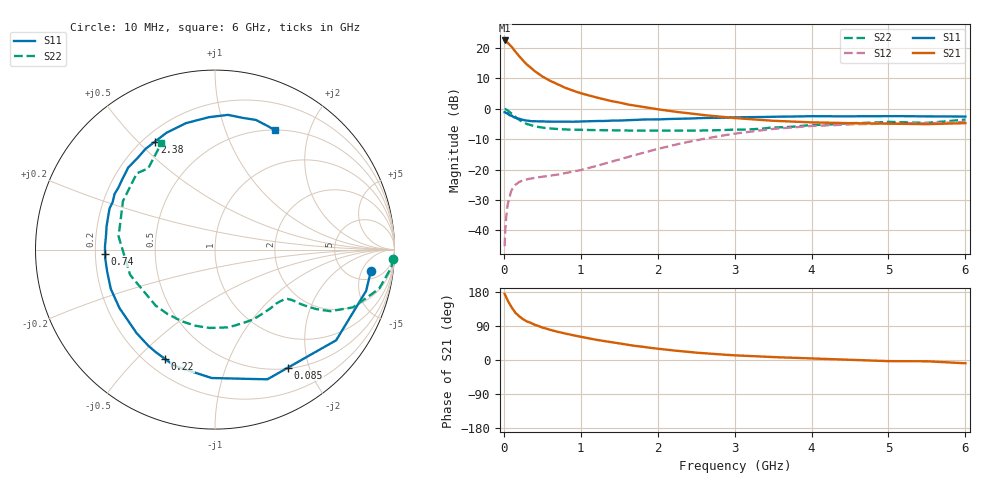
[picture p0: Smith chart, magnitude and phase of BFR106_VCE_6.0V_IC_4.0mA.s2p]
! Infineon Technologies  Discrete & RF Semiconductors
! BFR106
! VCE =  6.0 V,  IC =  4.0 mA
! Common Emitter S-Parameters:  Nov 2015
# GHz  S  MA  R  50
!  f  S11  S21  S12  S22
! GHz  MAG  ANG  MAG  ANG  MAG  ANG  MAG  ANG
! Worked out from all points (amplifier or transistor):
!   210 points, 10 MHz to 6 GHz, reference 50 ohm
!   highest |S21| = 22.5 dB at 10 MHz (marker M1)
!   |S21| within 3 dB of that: start of sweep to 129 MHz
!   unconditionally stable (mu >= 1): 668.8 MHz to 1.808 GHz; 4.636 GHz to end of sweep
!   at 185 MHz: K = 0.34, MSG = 21.0 dB, |S12| = -24.4 dB
!   at 1.52 GHz: K = 1.12, MAG = 7.2 dB, |S12| = -16.5 dB
!   at 6 GHz: K = 1.02, MAG = -1.0 dB, |S12| = -4.3 dB
!   S11 on the Smith chart (normalised r, x): 10 MHz: 7, -8; 85 MHz: 0.51, -1.68; 220 MHz: 0.28, -0.61; 740 MHz: 0.24, -0.02; 2.38 GHz: 0.25, +0.56; 6 GHz: 0.50, +1.50
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0.01  0.8766 -7.8  13.26 174.4  0.0055 86.6  0.9946 -2.9
0.02  0.8729 -15.3  13.12 170.4  0.0108 82.3  0.988 -5.7
0.05  0.8431 -36.8  12.24 156.5  0.0267 71.0  0.9402 -13.4
0.085  0.7731 -58.2  10.93 144.7  0.0398 60.0  0.863 -19.7
0.1  0.7794 -68.0  10.54 138.8  0.0457 57.3  0.8335 -22.7
0.15  0.7157 -91.5  8.685 124.5  0.0562 47.6  0.7287 -28.1
0.2  0.6859 -109.2  7.297 115.2  0.0625 42.3  0.656 -30.4
0.22  0.6697 -114.5  6.838 112.3  0.064 40.8  0.6328 -30.9
0.26  0.6515 -124.9  6.012 106.3  0.067 38.5  0.5906 -31.9
0.3  0.6382 -133.2  5.33 101.8  0.0693 37.5  0.561 -32.5
0.4  0.624 -148.6  4.164 93.1  0.0731 36.8  0.5141 -33.2
0.5  0.6206 -159.3  3.391 85.7  0.0761 38.2  0.4891 -34.2
0.6  0.6132 -168.4  2.888 79.7  0.0792 40.7  0.4738 -36.0
0.74  0.6127 -177.9  2.389 72.6  0.0847 45.1  0.4608 -39.2
1.02  0.6185 167.0  1.771 60.4  0.0995 54.3  0.45 -46.8
1.4  0.6396 151.1  1.335 46.9  0.1345 63.5  0.4434 -59.9
2.02  0.6685 130.1  0.972 29.3  0.2213 65.5  0.4361 -86.0
2.38  0.6882 119.0  0.849 21.5  0.2822 62.0  0.4374 -103.8
3.1  0.724 100.9  0.689 11.4  0.4035 49.2  0.454 -142.2
4.1  0.7525 83.2  0.593 3.4  0.5262 28.2  0.5442 168.0
5.1  0.7552 71.4  0.567 -3.1  0.572 10.8  0.6034 134.5
6  0.7442 63.4  0.579 -8.6  0.6064 -0.9  0.6631 116.8
